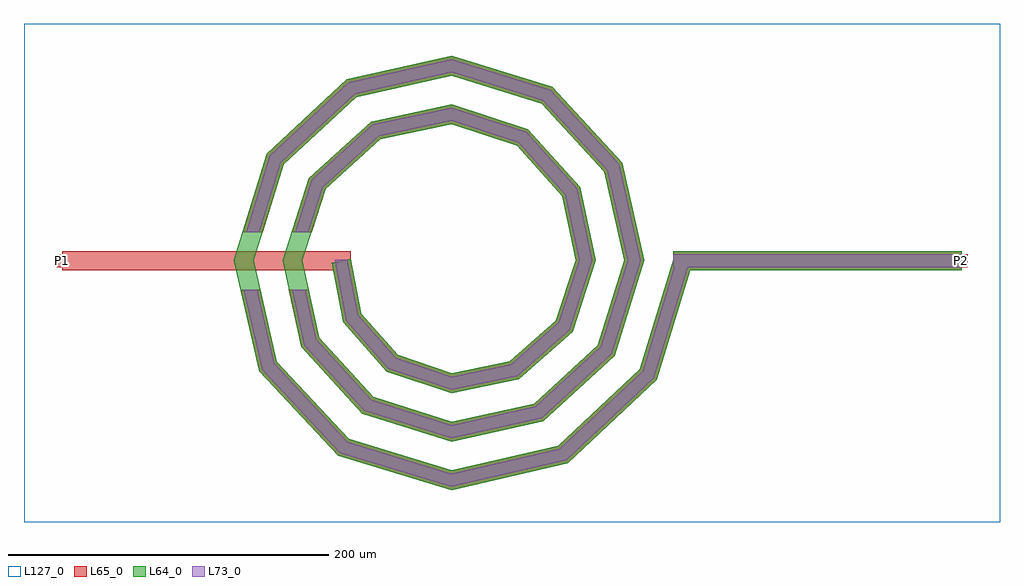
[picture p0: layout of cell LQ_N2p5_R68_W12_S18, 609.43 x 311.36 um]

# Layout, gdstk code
import gdstk
lib = gdstk.Library(unit=1e-6, precision=1e-09)
def R(c, l, rs):  # rectangles x0, y0, x1, y1
    for r in rs: c.add(gdstk.rectangle(r[:2], r[2:], *l))
def P(c, l, *ps):  # polygons
    for p in ps: c.add(gdstk.Polygon(p, *l))
L64_0 = (64, 0)
L65_0 = (65, 0)
L73_0 = (73, 0)
L127_0 = (127, 0)

lq_n2p5_r68_w12_s18 = lib.new_cell('LQ_N2p5_R68_W12_S18')
R(lq_n2p5_r68_w12_s18, L64_0, [(138.644,-6,318.644,6)])
P(lq_n2p5_r68_w12_s18, L64_0, [(-56.182,-32.911),(-33.476,-58.775),(0.383,-70.167),(36.669,-62.77),(65.325,-37.3),(77.751,0.349),(69.355,40.433),(41.119,71.878),(0.32,85.336),(-44.202,75.937),(-78.434,44.934),(-92.921,0.295),(-82.518,-47.974),(-48.746,-84.992),(0.274,-100.507),(51.75,-89.097),(91.552,-52.555),(108.092,0.256),(95.675,55.527),(56.362,98.113),(0.24,115.678),(-59.307,102.252),(-104.675,60.168),(-123.264,0.226),(-108.828,-63.088),(-63.972,-111.238),(0.214,-130.85),(66.871,-115.404),(117.802,-67.775),(138.903,1.743),(150.386,-1.743),(128.35,-74.341),(72.716,-126.367),(0.214,-143.267),(-70.557,-121.774),(-119.803,-68.912),(-135.68,0.226),(-115.197,66.775),(-65.107,113.24),(0.24,128.093),(62.995,108.619),(106.677,61.301),(120.506,0.256),(102.041,-59.216),(57.492,-100.115),(0.274,-112.92),(-55.439,-95.46),(-93.555,-53.681),(-105.333,0.295),(-88.879,51.664),(-49.868,86.996),(0.32,97.745),(47.893,82.295),(80.438,46.05),(90.158,0.349),(75.709,-44.126),(42.228,-73.883),(0.383,-82.57),(-40.363,-69.119),(-67.331,-38.4),(-74.669,-1.16),(-62.895,1.16)])
R(lq_n2p5_r68_w12_s18, L65_0, [(-242.782,-6,-62.782,6), (138.644,-6,318.644,6), (-246.782,-4,-238.782,4), (314.644,-4,322.644,4)])
P(lq_n2p5_r68_w12_s18, L65_0, [(-108.828,-63.088),(-63.972,-111.238),(0.214,-130.85),(66.871,-115.404),(117.802,-67.775),(138.903,1.743),(150.386,-1.743),(128.35,-74.341),(72.716,-126.368),(0.214,-143.267),(-70.558,-121.774),(-119.803,-68.912),(-131.495,-18),(-119.182,-18)],
  [(-82.518,-47.974),(-48.746,-84.992),(0.275,-100.507),(51.75,-89.097),(91.552,-52.555),(108.092,0.256),(95.675,55.528),(56.362,98.113),(0.24,115.678),(-59.307,102.252),(-104.675,60.168),(-117.654,18),(-130.209,18),(-115.197,66.775),(-65.107,113.24),(0.24,128.093),(62.995,108.619),(106.677,61.301),(120.507,0.256),(102.041,-59.216),(57.492,-100.115),(0.275,-112.92),(-55.439,-95.461),(-93.555,-53.681),(-101.341,-18),(-89.058,-18)],
  [(-33.476,-58.775),(0.383,-70.167),(36.669,-62.77),(65.325,-37.3),(77.751,0.349),(69.355,40.433),(41.119,71.878),(0.32,85.336),(-44.202,75.937),(-78.434,44.934),(-87.061,18),(-99.662,18),(-88.879,51.664),(-49.868,86.996),(0.32,97.745),(47.893,82.295),(80.439,46.05),(90.158,0.349),(75.709,-44.126),(42.228,-73.884),(0.383,-82.57),(-40.363,-69.119),(-67.331,-38.4),(-74.669,-1.16),(-62.895,1.16),(-56.182,-32.911)])
R(lq_n2p5_r68_w12_s18, L73_0, [(138.644,-4,318.644,4)])
P(lq_n2p5_r68_w12_s18, L73_0, [(-110.658,-64.059),(-65.07,-112.994),(0.143,-132.919),(67.845,-117.231),(119.56,-68.869),(140.817,1.162),(148.472,-1.162),(126.592,-73.246),(71.742,-124.54),(0.143,-141.197),(-69.46,-120.018),(-117.974,-67.942),(-129.443,-18),(-121.234,-18)],
  [(-84.357,-48.926),(-49.861,-86.737),(0.183,-102.576),(52.707,-90.933),(93.3,-53.665),(110.161,0.171),(97.509,56.49),(57.468,99.864),(0.16,117.747),(-60.274,104.083),(-106.429,61.269),(-119.746,18),(-128.117,18),(-113.443,65.674),(-64.141,111.409),(0.16,126.024),(61.889,106.868),(104.844,60.338),(118.437,0.171),(100.292,-58.106),(56.535,-98.279),(0.183,-110.851),(-54.323,-93.716),(-91.715,-52.73),(-99.293,-18),(-91.105,-18)],
  [(-34.624,-60.499),(0.256,-72.234),(37.595,-64.622),(67.055,-38.438),(79.819,0.233),(71.202,41.369),(42.248,73.614),(0.213,87.404),(-45.146,77.78),(-80.175,46.056),(-89.161,18),(-97.562,18),(-87.138,50.543),(-48.923,85.153),(0.213,95.677),(46.764,80.559),(78.591,45.114),(88.09,0.233),(73.978,-42.988),(41.302,-72.031),(0.256,-80.503),(-39.216,-67.395),(-65.473,-37.485),(-72.707,0.773),(-64.857,0.773),(-58.04,-33.826)])
R(lq_n2p5_r68_w12_s18, L127_0, [(-266.782,-163.267,342.644,148.093)])
lq_n2p5_r68_w12_s18.add(gdstk.Label('P2', (318.644,0), layer=65, texttype=0))
lq_n2p5_r68_w12_s18.add(gdstk.Label('P1', (-242.782,0), layer=65, texttype=0))
lq_n2p5_r68_w12_s18.add(gdstk.Label('P2', (322.644,0), layer=145, texttype=0))
lq_n2p5_r68_w12_s18.add(gdstk.Label('P1', (-246.782,0), layer=145, texttype=0))

lib.write_gds('LQ_N2p5_R68_W12_S18.gds')
